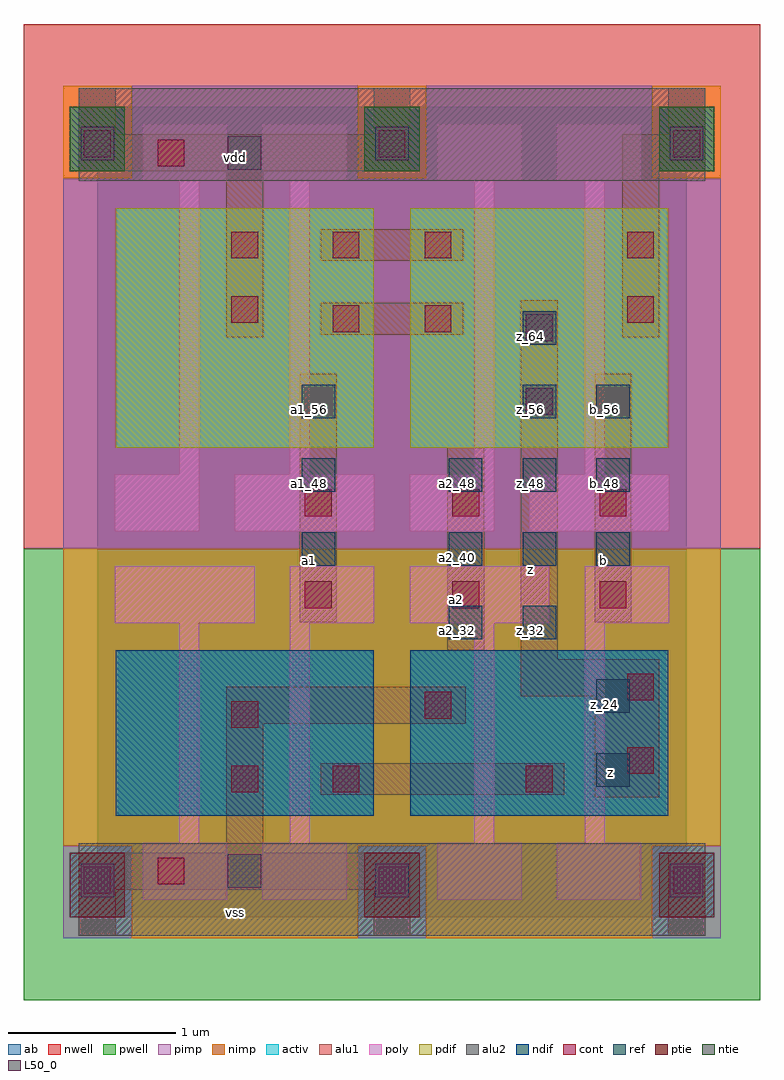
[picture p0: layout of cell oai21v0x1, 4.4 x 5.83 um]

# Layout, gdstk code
import gdstk
lib = gdstk.Library(unit=1e-6, precision=2.5e-09)
def R(c, l, rs):  # rectangles x0, y0, x1, y1
    for r in rs: c.add(gdstk.rectangle(r[:2], r[2:], *l))
def A(c, l, x, y, w, h, nx, ny, dx, dy):  # array of equal rectangles
    R(c, l, [(x+i*dx, y+j*dy, x+i*dx+w, y+j*dy+h) for i in range(nx) for j in range(ny)])
ndif = (3, 0)
pdif = (4, 0)
ntie = (5, 0)
ptie = (6, 0)
ref = (24, 0)
cont = (25, 0)
pwell = (41, 0)
nwell = (42, 0)
activ = (43, 0)
pimp = (44, 0)
nimp = (45, 0)
poly = (46, 0)
alu1 = (49, 0)
L50_0 = (50, 0)
alu2 = (51, 0)
ab = (63, 0)

oai21v0x1 = lib.new_cell('oai21v0x1')
R(oai21v0x1, ndif, [(0.11,0.605,1.65,1.595), (1.87,0.605,3.41,1.595)])
R(oai21v0x1, pdif, [(0.11,2.805,1.65,4.235), (1.87,2.805,3.41,4.235)])
A(oai21v0x1, ntie, -0.165, 4.455, 0.33, 0.385, 3, 1, 1.76, 0)
A(oai21v0x1, ptie, -0.165, 0, 0.33, 0.385, 3, 1, 1.76, 0)
A(oai21v0x1, ref, 1.22, 2.1, 0.2, 0.2, 1, 3, 0, 0.44)
A(oai21v0x1, ref, 2.1, 2.1, 0.2, 0.2, 3, 2, 0.44, 0.44)
R(oai21v0x1, ref, [(2.98,0.78,3.18,0.98), (2.98,1.22,3.18,1.42), (2.1,1.66,2.3,1.86), (2.54,1.66,2.74,1.86), (2.54,2.98,2.74,3.18), (2.98,2.98,3.18,3.18), (2.54,3.42,2.74,3.62)])
A(oai21v0x1, cont, -0.08, 0.14, 0.16, 0.16, 3, 2, 1.76, 4.4)
A(oai21v0x1, cont, 1.24, 1.845, 0.16, 0.16, 3, 2, 0.88, 0.55)
R(oai21v0x1, cont, [(0.36,0.195,0.52,0.355), (0.8,0.745,0.96,0.905), (1.405,0.745,1.565,0.905), (2.56,0.745,2.72,0.905), (3.165,0.855,3.325,1.015), (0.8,1.13,0.96,1.29), (1.955,1.185,2.115,1.345), (3.165,1.295,3.325,1.455), (2.56,3,2.72,3.16), (2.56,3.44,2.72,3.6), (1.405,3.495,1.565,3.655), (1.955,3.495,2.115,3.655), (0.8,3.55,0.96,3.71), (3.165,3.55,3.325,3.71), (0.8,3.935,0.96,4.095), (1.405,3.935,1.565,4.095), (1.955,3.935,2.115,4.095), (3.165,3.935,3.325,4.095), (0.36,4.485,0.52,4.645)])
R(oai21v0x1, pwell, [(-0.44,-0.495,3.96,2.2)])
R(oai21v0x1, nwell, [(-0.44,2.2,3.96,5.335)])
A(oai21v0x1, activ, -0.165, 0, 0.33, 0.385, 3, 2, 1.76, 4.455)
R(oai21v0x1, activ, [(0.11,0.605,1.65,1.595), (1.87,0.605,3.41,1.595), (0.11,2.805,1.65,4.235), (1.87,2.805,3.41,4.235)])
A(oai21v0x1, pimp, -0.205, -0.125, 0.41, 0.55, 3, 1, 1.76, 0)
R(oai21v0x1, pimp, [(-0.205,2.2,3.725,4.415), (0.205,4.415,1.555,4.965), (1.965,4.415,3.315,4.965)])
A(oai21v0x1, nimp, -0.205, 4.415, 0.41, 0.55, 3, 1, 1.76, 0)
R(oai21v0x1, nimp, [(0.205,-0.125,1.555,0.425), (1.965,-0.125,3.315,0.425), (-0.205,0.425,3.725,2.2)])
R(oai21v0x1, poly, [(0.27,0.105,0.775,0.445), (0.985,0.105,1.49,0.445), (2.03,0.105,2.535,0.445), (2.745,0.105,3.25,0.445), (0.49,0.445,0.61,1.755), (1.15,0.445,1.27,1.755), (2.25,0.445,2.37,1.755), (2.91,0.445,3.03,1.755), (0.105,1.755,0.94,2.095), (1.15,1.755,1.655,2.095), (1.865,1.755,2.7,2.095), (2.91,1.755,3.415,2.095), (0.105,2.305,0.61,2.645), (0.82,2.305,1.655,2.645), (1.865,2.305,2.37,2.645), (2.58,2.305,3.415,2.645), (0.49,2.645,0.61,4.395), (1.15,2.645,1.27,4.395), (2.25,2.645,2.37,4.395), (2.91,2.645,3.03,4.395), (0.27,4.395,0.775,4.735), (0.985,4.395,1.49,4.735), (2.03,4.395,2.535,4.735), (2.745,4.395,3.25,4.735)])
A(oai21v0x1, alu1, -0.11, 4.675, 0.22, 0.275, 3, 1, 1.76, 0)
R(oai21v0x1, alu1, [(-0.11,-0.11,0.11,0.165), (1.65,-0.11,1.87,0.165), (3.41,-0.11,3.63,0.385), (-0.11,0.165,1.87,0.385), (0.77,0.385,0.99,1.155), (2.97,0.715,3.355,1.32), (1.335,0.73,2.79,0.92), (0.77,1.155,2.2,1.375), (2.53,1.32,3.355,1.54), (2.53,1.54,2.75,3.685), (2.09,1.595,2.31,2.805), (1.21,1.76,1.43,3.245), (2.97,1.76,3.19,3.245), (0.77,3.465,0.99,4.455), (3.135,3.465,3.355,4.455), (1.335,3.48,2.185,3.67), (1.335,3.92,2.185,4.11), (-0.11,4.455,1.87,4.675), (3.135,4.455,3.63,4.675)])
A(oai21v0x1, L50_0, -0.1, 0.12, 0.2, 0.2, 3, 2, 1.76, 4.4)
R(oai21v0x1, L50_0, [(0.78,0.175,0.98,0.375), (0.78,4.465,0.98,4.665)])
R(oai21v0x1, alu2, [(-0.11,-0.11,3.63,0.44), (-0.11,4.4,3.63,4.95)])
R(oai21v0x1, ab, [(0,0,3.52,4.84)])
oai21v0x1.add(gdstk.Label('z', (3.065,0.865), layer=49, texttype=0))
oai21v0x1.add(gdstk.Label('b', (3.025,2.13), layer=49, texttype=0))
oai21v0x1.add(gdstk.Label('z', (2.585,2.075), layer=49, texttype=0))
oai21v0x1.add(gdstk.Label('a2', (2.145,1.8975), layer=49, texttype=0))
oai21v0x1.add(gdstk.Label('a1', (1.265,2.13), layer=49, texttype=0))
oai21v0x1.add(gdstk.Label('vss', (0.825,0.0275), layer=51, texttype=0))
oai21v0x1.add(gdstk.Label('vdd', (0.825,4.5375), layer=51, texttype=0))
oai21v0x1.add(gdstk.Label('z_16', (3.03,0.83), layer=24, texttype=0))
oai21v0x1.add(gdstk.Label('z_24', (3.03,1.27), layer=24, texttype=0))
oai21v0x1.add(gdstk.Label('z_64', (2.59,3.47), layer=24, texttype=0))
oai21v0x1.add(gdstk.Label('b_56', (3.03,3.03), layer=24, texttype=0))
oai21v0x1.add(gdstk.Label('z_32', (2.59,1.71), layer=24, texttype=0))
oai21v0x1.add(gdstk.Label('z_40', (2.59,2.15), layer=24, texttype=0))
oai21v0x1.add(gdstk.Label('z_48', (2.59,2.59), layer=24, texttype=0))
oai21v0x1.add(gdstk.Label('b_40', (3.03,2.15), layer=24, texttype=0))
oai21v0x1.add(gdstk.Label('b_48', (3.03,2.59), layer=24, texttype=0))
oai21v0x1.add(gdstk.Label('a2_32', (2.15,1.71), layer=24, texttype=0))
oai21v0x1.add(gdstk.Label('a2_40', (2.15,2.15), layer=24, texttype=0))
oai21v0x1.add(gdstk.Label('a2_48', (2.15,2.59), layer=24, texttype=0))
oai21v0x1.add(gdstk.Label('a1_40', (1.27,2.15), layer=24, texttype=0))
oai21v0x1.add(gdstk.Label('a1_48', (1.27,2.59), layer=24, texttype=0))
oai21v0x1.add(gdstk.Label('a1_56', (1.27,3.03), layer=24, texttype=0))
oai21v0x1.add(gdstk.Label('z_56', (2.59,3.03), layer=24, texttype=0))

lib.write_gds('oai21v0x1.gds')
